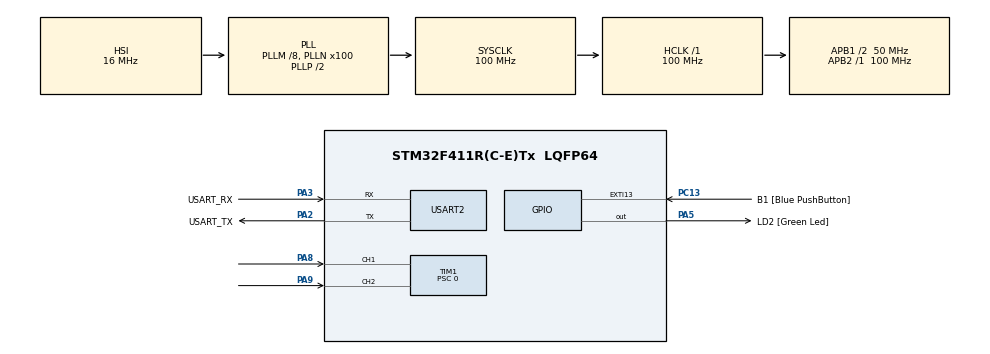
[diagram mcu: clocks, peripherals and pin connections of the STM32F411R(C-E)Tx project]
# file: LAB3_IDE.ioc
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Mcu.Family=STM32F4
Mcu.Name=STM32F411R(C-E)Tx
Mcu.Package=LQFP64
NVIC.PriorityGroup=NVIC_PRIORITYGROUP_0
NVIC.TIM3_IRQn=true\:0\:0\:false\:false\:true\:true\:true
PA13.GPIO_Label=TMS
PA13.Mode=Serial_Wire
PA13.Signal=SYS_JTMS-SWDIO
PA14.GPIO_Label=TCK
PA14.Mode=Serial_Wire
PA14.Signal=SYS_JTCK-SWCLK
PA2.GPIO_Label=USART_TX
PA2.Mode=Asynchronous
PA2.Signal=USART2_TX
PA3.GPIO_Label=USART_RX
PA3.Mode=Asynchronous
PA3.Signal=USART2_RX
PA5.GPIO_Label=LD2 [Green Led]
PA5.Signal=GPIO_Output
PA8.Signal=S_TIM1_CH1
PA9.Signal=S_TIM1_CH2
PB3.GPIO_Label=SWO
PB3.Signal=SYS_JTDO-SWO
PC13-ANTI_TAMP.GPIO_Label=B1 [Blue PushButton]
PC13-ANTI_TAMP.GPIO_ModeDefaultEXTI=GPIO_MODE_IT_FALLING
PC13-ANTI_TAMP.Signal=GPXTI13
PC14-OSC32_IN.Mode=LSE-External-Oscillator
PC14-OSC32_IN.Signal=RCC_OSC32_IN
PC15-OSC32_OUT.Mode=LSE-External-Oscillator
PC15-OSC32_OUT.Signal=RCC_OSC32_OUT
PH0\ -\ OSC_IN.Mode=HSE-External-Clock-Source
PH0\ -\ OSC_IN.Signal=RCC_OSC_IN
PH1\ -\ OSC_OUT.Mode=HSE-External-Clock-Source
PH1\ -\ OSC_OUT.Signal=RCC_OSC_OUT
ProjectManager.HeapSize=0x200
ProjectManager.StackSize=0x400
ProjectManager.TargetToolchain=STM32CubeIDE
RCC.48MHZClocksFreq_Value=50000000
RCC.AHBFreq_Value=100000000
RCC.APB1CLKDivider=RCC_HCLK_DIV2
RCC.APB1Freq_Value=50000000
RCC.APB1TimFreq_Value=100000000
RCC.APB2Freq_Value=100000000
RCC.APB2TimFreq_Value=100000000
RCC.CortexFreq_Value=100000000
RCC.FLatency-AdvancedSettings=FLASH_LATENCY_3
RCC.HCLKFreq_Value=100000000
RCC.HSE_VALUE=8000000
RCC.HSI_VALUE=16000000
RCC.PLLM=8
RCC.PLLN=100
RCC.SYSCLKFreq_VALUE=100000000
RCC.SYSCLKSource=RCC_SYSCLKSOURCE_PLLCLK
RCC.VCOOutputFreq_Value=200000000
SH.S_TIM1_CH1.0=TIM1_CH1,Encoder_Interface
SH.S_TIM1_CH2.0=TIM1_CH2,Encoder_Interface
TIM1.EncoderMode=TIM_ENCODERMODE_TI12
TIM1.Period=3071
TIM1.Prescaler=0
TIM3.Period=9999
TIM3.Prescaler=999
USART2.VirtualMode=VM_ASYNC
VP_TIM3_VS_ClockSourceINT.Mode=Internal
board=NUCLEO-F411RE

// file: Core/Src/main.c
/* USER CODE BEGIN Header */
/**
  ******************************************************************************
  * @file           : main.c
  * @brief          : Main program body
  ******************************************************************************
  * @attention
  *
  * Copyright (c) 2022 STMicroelectronics.
  * All rights reserved.
  *
  * This software is licensed under terms that can be found in the LICENSE file
  * in the root directory of this software component.
  * If no LICENSE file comes with this software, it is provided AS-IS.
  *
  ******************************************************************************
  */
/* USER CODE END Header */
#include "main.h"

/* USER CODE BEGIN Includes */
#define ARM_MATH_CM4
#include "arm_math.h"
#define _USE_MATH_DEFINES
#include "math.h"
/* USER CODE END Includes */

TIM_HandleTypeDef htim1;
TIM_HandleTypeDef htim3;

UART_HandleTypeDef huart2;

/* USER CODE BEGIN PV */
float RealDegree = 0.0;
float Degree_Past = 0.0;
float Degree_offset = 0.0;
float AbsDegree = 0.0;
float AbsDegree_Past = 0.0;
float Velocity = 0.0;
float Velocity_Past = 0.0;
float Acceleration = 0.0;
float AbsDegree_kalman = 0.0;
float Velocity_kalman = 0.0;
float Acceleration_kalman = 0.0;

const float delta_t = 0.1;

float32_t A_data[9] =
{
	1.0,	delta_t,	delta_t*delta_t/2.0,
	0.0, 	1.0,			delta_t,
	0.0,	0.0,			1.0
};

float32_t B_data[3] =
{
	0.0,
	0.0,
	0.0
};

float32_t C_data[3] =
{
	1.0,	0.0,	0.0
};

float32_t D_data[1] =
{
	0.0
};

float32_t G_data[3] =
{
	delta_t*delta_t*delta_t/6.0,
	delta_t*delta_t/2.0,
	delta_t
};

float32_t U_data[1] =
{
	0.0
};

float32_t X_data[3] =
{
	0.0,
	0.0,
	0.0
};

float32_t Y_data[1] =
{
	0.0
};

float32_t I_data[9] =
{
	1.0,	0.0,	0.0,
	0.0,	1.0,	0.0,
	0.0,	0.0,	1.0
};

float32_t At_data[9];
float32_t Ct_data[3];
float32_t Gt_data[3];
float32_t Xp_data[3];
float32_t Xp1_data[3];
float32_t Xp2_data[3];
float32_t P_data[9] =
{
	0.0,	0.0,	0.0,
	0.0,	0.0,	0.0,
	0.0,	0.0,	0.0
};
float32_t Pp_data[9];
float32_t APAt_data[9];
float32_t Q_data[9];
float32_t Yp_data[1];
float32_t Yp1_data[1];
float32_t Yp2_data[1];
float32_t Yd_data[1];
float32_t S_data[1];
float32_t Si_data[1];
float32_t R_data[1] =
{
	0.0001
};
float32_t PpCt_data[3];
float32_t CPpCt_data[1];
float32_t K_data[3];
float32_t KYd_data[3];
float32_t KC_data[9];
float32_t IKC_data[9];

arm_matrix_instance_f32 A;
arm_matrix_instance_f32 At;
arm_matrix_instance_f32 B;
arm_matrix_instance_f32 C;
arm_matrix_instance_f32 Ct;
arm_matrix_instance_f32 D;
arm_matrix_instance_f32 G;
arm_matrix_instance_f32 Gt;
arm_matrix_instance_f32 U;
arm_matrix_instance_f32 X;
arm_matrix_instance_f32 Y;
arm_matrix_instance_f32 I;

arm_matrix_instance_f32 Xp;
arm_matrix_instance_f32 Xp1;
arm_matrix_instance_f32 Xp2;

arm_matrix_instance_f32 P;
arm_matrix_instance_f32 Pp;
arm_matrix_instance_f32 APAt;
arm_matrix_instance_f32 Q;

arm_matrix_instance_f32 Yp;
arm_matrix_instance_f32 Yp1;
arm_matrix_instance_f32 Yp2;
arm_matrix_instance_f32 Yd;

arm_matrix_instance_f32 S;
arm_matrix_instance_f32 Si;
arm_matrix_instance_f32 R;
arm_matrix_instance_f32 PpCt;
arm_matrix_instance_f32 CPpCt;
arm_matrix_instance_f32 K;
arm_matrix_instance_f32 KYd;
arm_matrix_instance_f32 KC;
arm_matrix_instance_f32 IKC;

/* USER CODE END PV */

void SystemClock_Config(void);
static void MX_GPIO_Init(void);
static void MX_USART2_UART_Init(void);
static void MX_TIM1_Init(void);
static void MX_TIM3_Init(void);
/* USER CODE BEGIN PFP */
void UpdatePosition();
void Calculate_Velocity();
void Calculate_Acceleration();
void Unwrapped();
void Kalman();
/* USER CODE END PFP */

int main(void)
{
  /* USER CODE BEGIN 1 */
	arm_mat_init_f32(&A,3,3,A_data);
	arm_mat_init_f32(&At,3,3,At_data);
	arm_mat_init_f32(&B,3,1,B_data);
	arm_mat_init_f32(&C,1,3,C_data);
	arm_mat_init_f32(&Ct,3,1,Ct_data);
	arm_mat_init_f32(&D,1,1,D_data);
	arm_mat_init_f32(&G,3,1,G_data);
	arm_mat_init_f32(&Gt,1,3,Gt_data);
	arm_mat_init_f32(&U,1,1,U_data);
	arm_mat_init_f32(&X,3,1,X_data);
	arm_mat_init_f32(&Y,1,1,Y_data);
	arm_mat_init_f32(&I,3,3,I_data);

	arm_mat_init_f32(&Xp,3,1,Xp_data);
	arm_mat_init_f32(&Xp1,3,1,Xp1_data);
	arm_mat_init_f32(&Xp2,3,1,Xp2_data);

	arm_mat_init_f32(&P,3,3,P_data);
	arm_mat_init_f32(&Pp,3,3,Pp_data);
	arm_mat_init_f32(&APAt,3,3,APAt_data);
	arm_mat_init_f32(&Q,3,3,Q_data);

	arm_mat_init_f32(&Yp,1,1,Yp_data);
	arm_mat_init_f32(&Yp1,1,1,Yp1_data);
	arm_mat_init_f32(&Yp2,1,1,Yp2_data);
	arm_mat_init_f32(&Yd,1,1,Yd_data);

	arm_mat_init_f32(&S,1,1,S_data);
	arm_mat_init_f32(&Si,1,1,Si_data);
	arm_mat_init_f32(&R,1,1,R_data);
	arm_mat_init_f32(&PpCt,3,1,PpCt_data);
	arm_mat_init_f32(&CPpCt,1,1,CPpCt_data);
	arm_mat_init_f32(&K,3,1,K_data);
	arm_mat_init_f32(&KYd,3,1,KYd_data);
	arm_mat_init_f32(&KC,3,3,KC_data);
	arm_mat_init_f32(&IKC,3,3,IKC_data);
	//------------------------------------------------------
	arm_mat_trans_f32(&A,&At);
	arm_mat_trans_f32(&G, &Gt);
	arm_mat_mult_f32(&G,&Gt,&Q);
	arm_mat_scale_f32(&Q,0.5,&Q);
	arm_mat_trans_f32(&C, &Ct);

  /* USER CODE END 1 */

  /* MCU Configuration--------------------------------------------------------*/

  /* Reset of all peripherals, Initializes the Flash interface and the Systick. */
  HAL_Init();

  /* Configure the system clock */
  SystemClock_Config();

  /* Initialize all configured peripherals */
  MX_GPIO_Init();
  MX_USART2_UART_Init();
  MX_TIM1_Init();
  MX_TIM3_Init();
  /* USER CODE BEGIN 2 */
  //start Microsec timer
  HAL_TIM_Base_Start_IT(&htim11);
  //start TIM for sampling time at 0.01 or 100 Hz
  HAL_TIM_Base_Start_IT(&htim3);
  //start Encoder TIM
  HAL_TIM_Encoder_Start(&htim1, TIM_CHANNEL_ALL);

  /* USER CODE END 2 */

  /* Infinite loop */
  while (1)
  {

    /* USER CODE BEGIN 3 */
	  UpdatePosition();

  }
  /* USER CODE END 3 */
}

void SystemClock_Config(void)
{
  RCC_OscInitTypeDef RCC_OscInitStruct = {0};
  RCC_ClkInitTypeDef RCC_ClkInitStruct = {0};

  /** Configure the main internal regulator output voltage
  */
  __HAL_RCC_PWR_CLK_ENABLE();
  __HAL_PWR_VOLTAGESCALING_CONFIG(PWR_REGULATOR_VOLTAGE_SCALE1);
  /** Initializes the RCC Oscillators according to the specified parameters
  * in the RCC_OscInitTypeDef structure.
  */
  RCC_OscInitStruct.OscillatorType = RCC_OSCILLATORTYPE_HSI;
  RCC_OscInitStruct.HSIState = RCC_HSI_ON;
  RCC_OscInitStruct.HSICalibrationValue = RCC_HSICALIBRATION_DEFAULT;
  RCC_OscInitStruct.PLL.PLLState = RCC_PLL_ON;
  RCC_OscInitStruct.PLL.PLLSource = RCC_PLLSOURCE_HSI;
  RCC_OscInitStruct.PLL.PLLM = 8;
  RCC_OscInitStruct.PLL.PLLN = 100;
  RCC_OscInitStruct.PLL.PLLP = RCC_PLLP_DIV2;
  RCC_OscInitStruct.PLL.PLLQ = 4;
  if (HAL_RCC_OscConfig(&RCC_OscInitStruct) != HAL_OK)
  {
    Error_Handler();
  }
  /** Initializes the CPU, AHB and APB buses clocks
  */
  RCC_ClkInitStruct.ClockType = RCC_CLOCKTYPE_HCLK|RCC_CLOCKTYPE_SYSCLK
                              |RCC_CLOCKTYPE_PCLK1|RCC_CLOCKTYPE_PCLK2;
  RCC_ClkInitStruct.SYSCLKSource = RCC_SYSCLKSOURCE_PLLCLK;
  RCC_ClkInitStruct.AHBCLKDivider = RCC_SYSCLK_DIV1;
  RCC_ClkInitStruct.APB1CLKDivider = RCC_HCLK_DIV2;
  RCC_ClkInitStruct.APB2CLKDivider = RCC_HCLK_DIV1;

  if (HAL_RCC_ClockConfig(&RCC_ClkInitStruct, FLASH_LATENCY_3) != HAL_OK)
  {
    Error_Handler();
  }
}

static void MX_TIM1_Init(void)
{

  TIM_Encoder_InitTypeDef sConfig = {0};
  TIM_MasterConfigTypeDef sMasterConfig = {0};

  htim1.Instance = TIM1;
  htim1.Init.Prescaler = 0;
  htim1.Init.CounterMode = TIM_COUNTERMODE_UP;
  htim1.Init.Period = 3071;
  htim1.Init.ClockDivision = TIM_CLOCKDIVISION_DIV1;
  htim1.Init.RepetitionCounter = 0;
  htim1.Init.AutoReloadPreload = TIM_AUTORELOAD_PRELOAD_DISABLE;
  sConfig.EncoderMode = TIM_ENCODERMODE_TI12;
  sConfig.IC1Polarity = TIM_ICPOLARITY_RISING;
  sConfig.IC1Selection = TIM_ICSELECTION_DIRECTTI;
  sConfig.IC1Prescaler = TIM_ICPSC_DIV1;
  sConfig.IC1Filter = 0;
  sConfig.IC2Polarity = TIM_ICPOLARITY_RISING;
  sConfig.IC2Selection = TIM_ICSELECTION_DIRECTTI;
  sConfig.IC2Prescaler = TIM_ICPSC_DIV1;
  sConfig.IC2Filter = 0;
  if (HAL_TIM_Encoder_Init(&htim1, &sConfig) != HAL_OK)
  {
    Error_Handler();
  }
  sMasterConfig.MasterOutputTrigger = TIM_TRGO_RESET;
  sMasterConfig.MasterSlaveMode = TIM_MASTERSLAVEMODE_DISABLE;
  if (HAL_TIMEx_MasterConfigSynchronization(&htim1, &sMasterConfig) != HAL_OK)
  {
    Error_Handler();
  }

}

static void MX_TIM3_Init(void)
{

  TIM_ClockConfigTypeDef sClockSourceConfig = {0};
  TIM_MasterConfigTypeDef sMasterConfig = {0};

  htim3.Instance = TIM3;
  htim3.Init.Prescaler = 999;
  htim3.Init.CounterMode = TIM_COUNTERMODE_UP;
  htim3.Init.Period = 9999;
  htim3.Init.ClockDivision = TIM_CLOCKDIVISION_DIV1;
  htim3.Init.AutoReloadPreload = TIM_AUTORELOAD_PRELOAD_DISABLE;
  if (HAL_TIM_Base_Init(&htim3) != HAL_OK)
  {
    Error_Handler();
  }
  sClockSourceConfig.ClockSource = TIM_CLOCKSOURCE_INTERNAL;
  if (HAL_TIM_ConfigClockSource(&htim3, &sClockSourceConfig) != HAL_OK)
  {
    Error_Handler();
  }
  sMasterConfig.MasterOutputTrigger = TIM_TRGO_RESET;
  sMasterConfig.MasterSlaveMode = TIM_MASTERSLAVEMODE_DISABLE;
  if (HAL_TIMEx_MasterConfigSynchronization(&htim3, &sMasterConfig) != HAL_OK)
  {
    Error_Handler();
  }

}

static void MX_USART2_UART_Init(void)
{

  huart2.Instance = USART2;
  huart2.Init.BaudRate = 115200;
  huart2.Init.WordLength = UART_WORDLENGTH_8B;
  huart2.Init.StopBits = UART_STOPBITS_1;
  huart2.Init.Parity = UART_PARITY_NONE;
  huart2.Init.Mode = UART_MODE_TX_RX;
  huart2.Init.HwFlowCtl = UART_HWCONTROL_NONE;
  huart2.Init.OverSampling = UART_OVERSAMPLING_16;
  if (HAL_UART_Init(&huart2) != HAL_OK)
  {
    Error_Handler();
  }

}

static void MX_GPIO_Init(void)
{
  GPIO_InitTypeDef GPIO_InitStruct = {0};

  /* GPIO Ports Clock Enable */
  __HAL_RCC_GPIOC_CLK_ENABLE();
  __HAL_RCC_GPIOH_CLK_ENABLE();
  __HAL_RCC_GPIOA_CLK_ENABLE();
  __HAL_RCC_GPIOB_CLK_ENABLE();

  /*Configure GPIO pin Output Level */
  HAL_GPIO_WritePin(LD2_GPIO_Port, LD2_Pin, GPIO_PIN_RESET);

  /*Configure GPIO pin : B1_Pin */
  GPIO_InitStruct.Pin = B1_Pin;
  GPIO_InitStruct.Mode = GPIO_MODE_IT_FALLING;
  GPIO_InitStruct.Pull = GPIO_NOPULL;
  HAL_GPIO_Init(B1_GPIO_Port, &GPIO_InitStruct);

  /*Configure GPIO pin : LD2_Pin */
  GPIO_InitStruct.Pin = LD2_Pin;
  GPIO_InitStruct.Mode = GPIO_MODE_OUTPUT_PP;
  GPIO_InitStruct.Pull = GPIO_NOPULL;
  GPIO_InitStruct.Speed = GPIO_SPEED_FREQ_LOW;
  HAL_GPIO_Init(LD2_GPIO_Port, &GPIO_InitStruct);

}

/* USER CODE BEGIN 4 */
void UpdatePosition()
{
	uint16_t RawRead = TIM1->CNT;
//	RealDegree = (RawRead/3072.0)*360.0;
	RealDegree = (RawRead/3072.0)*(2*M_PI);
}

void Kalman()
{
	arm_mat_mult_f32(&A,&X,&Xp1);
	arm_mat_mult_f32(&B,&U,&Xp2);
	arm_mat_add_f32(&Xp1,&Xp2,&Xp);

	arm_mat_mult_f32(&P,&At,&APAt);
	arm_mat_mult_f32(&A,&APAt,&APAt);
	arm_mat_add_f32(&APAt,&Q,&Pp);

	arm_mat_mult_f32(&C,&Xp,&Yp1);
	arm_mat_mult_f32(&D,&U,&Yp2);
	arm_mat_add_f32(&Yp1,&Yp2,&Yp);
	arm_mat_sub_f32(&Y,&Yp,&Yd);

	arm_mat_mult_f32(&Pp,&Ct,&PpCt);
	arm_mat_mult_f32(&C,&PpCt,&CPpCt);
	arm_mat_add_f32(&CPpCt,&R,&S);
	arm_mat_mult_f32(&Pp,&Ct,&K);
	arm_mat_inverse_f32(&S,&Si);
	arm_mat_mult_f32(&K,&Si,&K);

	arm_mat_mult_f32(&K,&Yd,&KYd);
	arm_mat_add_f32(&Xp,&KYd,&X);

	arm_mat_mult_f32(&K,&C,&KC);
	arm_mat_sub_f32(&I,&KC,&IKC);
	arm_mat_mult_f32(&IKC,&Pp,&P);
}

void Unwrapped()
{
	static uint8_t check = 0;
	if(RealDegree - Degree_Past <= -M_PI && check != 0)
	{
		Degree_offset = Degree_offset + (2*M_PI);
		AbsDegree = Degree_offset + RealDegree;
	}
	else if(RealDegree - Degree_Past >= M_PI && check != 0)
	{
		Degree_offset = Degree_offset - (2*M_PI);
		AbsDegree = Degree_offset + RealDegree;
	}
	else
	{
		check = 1;
		AbsDegree = Degree_offset + RealDegree;
	}
	Degree_Past = RealDegree;
}

void Calculate_Velocity()
{
	Velocity = (AbsDegree - AbsDegree_Past)/0.1;
	AbsDegree_Past = AbsDegree;
}

void Calculate_Acceleration()
{
	Acceleration = (Velocity - Velocity_Past)/0.1;
	Velocity_Past = Velocity;
}

void HAL_TIM_PeriodElapsedCallback(TIM_HandleTypeDef *htim)
{
 if(htim == &htim3)
 {
	 Unwrapped();
	 Calculate_Velocity();
	 Calculate_Acceleration();
	 Y_data[0] = AbsDegree;
	 Kalman();
	 AbsDegree_kalman = X_data[0];
	 Velocity_kalman = X_data[1];
	 Acceleration_kalman = X_data[2];
 }
}
/* USER CODE END 4 */

void Error_Handler(void)
{
  __disable_irq();
  while (1)
  {
  }
}
